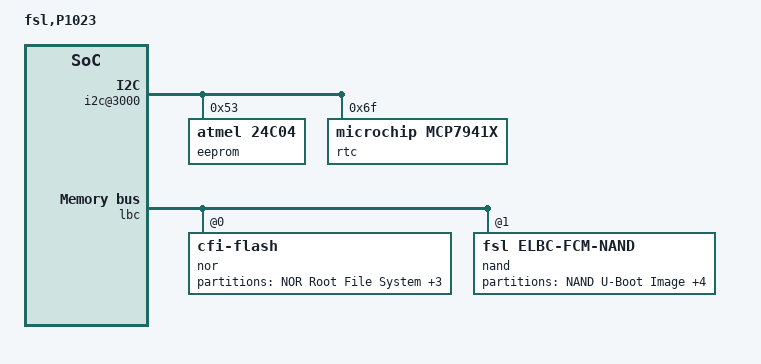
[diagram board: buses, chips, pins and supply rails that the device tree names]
/*
 * P1023 RDB Device Tree Source
 *
 * Copyright 2013 - 2014 Freescale Semiconductor Inc.
 *
 * Author: Chunhe Lan <Chunhe.Lan@freescale.com>
 *
 * Redistribution and use in source and binary forms, with or without
 * modification, are permitted provided that the following conditions are met:
 *     * Redistributions of source code must retain the above copyright
 *       notice, this list of conditions and the following disclaimer.
 *     * Redistributions in binary form must reproduce the above copyright
 *       notice, this list of conditions and the following disclaimer in the
 *       documentation and/or other materials provided with the distribution.
 *     * Neither the name of Freescale Semiconductor nor the
 *       names of its contributors may be used to endorse or promote products
 *       derived from this software without specific prior written permission.
 *
 *
 * ALTERNATIVELY, this software may be distributed under the terms of the
 * GNU General Public License ("GPL") as published by the Free Software
 * Foundation, either version 2 of that License or (at your option) any
 * later version.
 *
 * THIS SOFTWARE IS PROVIDED BY Freescale Semiconductor ``AS IS'' AND ANY
 * EXPRESS OR IMPLIED WARRANTIES, INCLUDING, BUT NOT LIMITED TO, THE IMPLIED
 * WARRANTIES OF MERCHANTABILITY AND FITNESS FOR A PARTICULAR PURPOSE ARE
 * DISCLAIMED. IN NO EVENT SHALL Freescale Semiconductor BE LIABLE FOR ANY
 * DIRECT, INDIRECT, INCIDENTAL, SPECIAL, EXEMPLARY, OR CONSEQUENTIAL DAMAGES
 * (INCLUDING, BUT NOT LIMITED TO, PROCUREMENT OF SUBSTITUTE GOODS OR SERVICES;
 * LOSS OF USE, DATA, OR PROFITS; OR BUSINESS INTERRUPTION) HOWEVER CAUSED AND
 * ON ANY THEORY OF LIABILITY, WHETHER IN CONTRACT, STRICT LIABILITY, OR TORT
 * (INCLUDING NEGLIGENCE OR OTHERWISE) ARISING IN ANY WAY OUT OF THE USE OF THIS
 * SOFTWARE, EVEN IF ADVISED OF THE POSSIBILITY OF SUCH DAMAGE.
 */

/include/ "p1023si-pre.dtsi"

/ {
	model = "fsl,P1023";
	compatible = "fsl,P1023RDB";
	#address-cells = <2>;
	#size-cells = <2>;
	interrupt-parent = <&mpic>;

	memory {
		device_type = "memory";
	};

	reserved-memory {
		#address-cells = <2>;
		#size-cells = <2>;
		ranges;

		bman_fbpr: bman-fbpr {
			size = <0 0x1000000>;
			alignment = <0 0x1000000>;
		};
		qman_fqd: qman-fqd {
			size = <0 0x400000>;
			alignment = <0 0x400000>;
		};
		qman_pfdr: qman-pfdr {
			size = <0 0x2000000>;
			alignment = <0 0x2000000>;
		};
	};

	qportals: qman-portals@ff000000 {
		ranges = <0x0 0xf 0xff000000 0x200000>;
	};

	bportals: bman-portals@ff200000 {
		ranges = <0x0 0xf 0xff200000 0x200000>;
	};

	soc: soc@ff600000 {
		ranges = <0x0 0x0 0xff600000 0x200000>;

		i2c@3000 {
			eeprom@53 {
				compatible = "atmel,24c04";
				reg = <0x53>;
			};

			rtc@6f {
				compatible = "microchip,mcp7941x";
				reg = <0x6f>;
			};
		};

		usb@22000 {
			dr_mode = "host";
			phy_type = "ulpi";
		};
	};

	lbc: localbus@ff605000 {
		reg = <0 0xff605000 0 0x1000>;

		/* NOR, NAND Flashes */
		ranges = <0x0 0x0 0x0 0xec000000 0x04000000
			  0x1 0x0 0x0 0xffa00000 0x08000000>;

		nor@0,0 {
			#address-cells = <1>;
			#size-cells = <1>;
			compatible = "cfi-flash";
			reg = <0x0 0x0 0x04000000>;
			bank-width = <2>;
			device-width = <1>;

			partition@0 {
				/* 48MB for Root File System */
				reg = <0x00000000 0x03000000>;
				label = "NOR Root File System";
			};

			partition@3000000 {
				/* 1MB for DTB Image */
				reg = <0x03000000 0x00100000>;
				label = "NOR DTB Image";
			};

			partition@3100000 {
				/* 14MB for Linux Kernel Image */
				reg = <0x03100000 0x00e00000>;
				label = "NOR Linux Kernel Image";
			};

			partition@3f00000 {
				/* This location must not be altered  */
				/* 512KB for u-boot Bootloader Image */
				/* 512KB for u-boot Environment Variables */
				reg = <0x03f00000 0x00100000>;
				label = "NOR U-Boot Image";
				read-only;
			};
		};

		nand@1,0 {
			#address-cells = <1>;
			#size-cells = <1>;
			compatible = "fsl,elbc-fcm-nand";
			reg = <0x1 0x0 0x40000>;

			partition@0 {
				/* This location must not be altered  */
				/* 1MB for u-boot Bootloader Image */
				reg = <0x0 0x00100000>;
				label = "NAND U-Boot Image";
				read-only;
			};

			partition@100000 {
				/* 1MB for DTB Image */
				reg = <0x00100000 0x00100000>;
				label = "NAND DTB Image";
			};

			partition@200000 {
				/* 14MB for Linux Kernel Image */
				reg = <0x00200000 0x00e00000>;
				label = "NAND Linux Kernel Image";
			};

			partition@1000000 {
				/* 96MB for Root File System Image */
				reg = <0x01000000 0x06000000>;
				label = "NAND Root File System";
			};

			partition@7000000 {
				/* 16MB for User Writable Area */
				reg = <0x07000000 0x01000000>;
				label = "NAND Writable User area";
			};
		};
	};

	pci0: pcie@ff60a000 {
		reg = <0 0xff60a000 0 0x1000>;
		ranges = <0x2000000 0x0 0xc0000000 0 0xc0000000 0x0 0x20000000
			  0x1000000 0x0 0x00000000 0 0xffc20000 0x0 0x10000>;
		pcie@0 {
			/* IRQ[0:3] are pulled up on board, set to active-low */
			interrupt-map-mask = <0xf800 0 0 7>;
			interrupt-map = <
				/* IDSEL 0x0 */
				0000 0 0 1 &mpic 0 1 0 0
				0000 0 0 2 &mpic 1 1 0 0
				0000 0 0 3 &mpic 2 1 0 0
				0000 0 0 4 &mpic 3 1 0 0
				>;
			ranges = <0x2000000 0x0 0xc0000000
				  0x2000000 0x0 0xc0000000
				  0x0 0x20000000

				  0x1000000 0x0 0x0
				  0x1000000 0x0 0x0
				  0x0 0x100000>;
		};
	};

	board_pci1: pci1: pcie@ff609000 {
		reg = <0 0xff609000 0 0x1000>;
		ranges = <0x2000000 0x0 0xa0000000 0 0xa0000000 0x0 0x20000000
			  0x1000000 0x0 0x00000000 0 0xffc10000 0x0 0x10000>;
		pcie@0 {
			/*
			 * IRQ[4:6] only for PCIe, set to active-high,
			 * IRQ[7] is pulled up on board, set to active-low
			 */
			interrupt-map-mask = <0xf800 0 0 7>;
			interrupt-map = <
				/* IDSEL 0x0 */
				0000 0 0 1 &mpic 4 2 0 0
				0000 0 0 2 &mpic 5 2 0 0
				0000 0 0 3 &mpic 6 2 0 0
				0000 0 0 4 &mpic 7 1 0 0
				>;
			ranges = <0x2000000 0x0 0xa0000000
				  0x2000000 0x0 0xa0000000
				  0x0 0x20000000

				  0x1000000 0x0 0x0
				  0x1000000 0x0 0x0
				  0x0 0x100000>;
		};
	};

	pci2: pcie@ff60b000 {
		reg = <0 0xff60b000 0 0x1000>;
		ranges = <0x2000000 0x0 0x80000000 0 0x80000000 0x0 0x20000000
			  0x1000000 0x0 0x00000000 0 0xffc00000 0x0 0x10000>;
		pcie@0 {
			/*
			 * IRQ[8:10] are pulled up on board, set to active-low
			 * IRQ[11] only for PCIe, set to active-high,
			 */
			interrupt-map-mask = <0xf800 0 0 7>;
			interrupt-map = <
				/* IDSEL 0x0 */
				0000 0 0 1 &mpic 8 1 0 0
				0000 0 0 2 &mpic 9 1 0 0
				0000 0 0 3 &mpic 10 1 0 0
				0000 0 0 4 &mpic 11 2 0 0
				>;
			ranges = <0x2000000 0x0 0x80000000
				  0x2000000 0x0 0x80000000
				  0x0 0x20000000

				  0x1000000 0x0 0x0
				  0x1000000 0x0 0x0
				  0x0 0x100000>;
		};
	};
};

/include/ "p1023si-post.dtsi"
